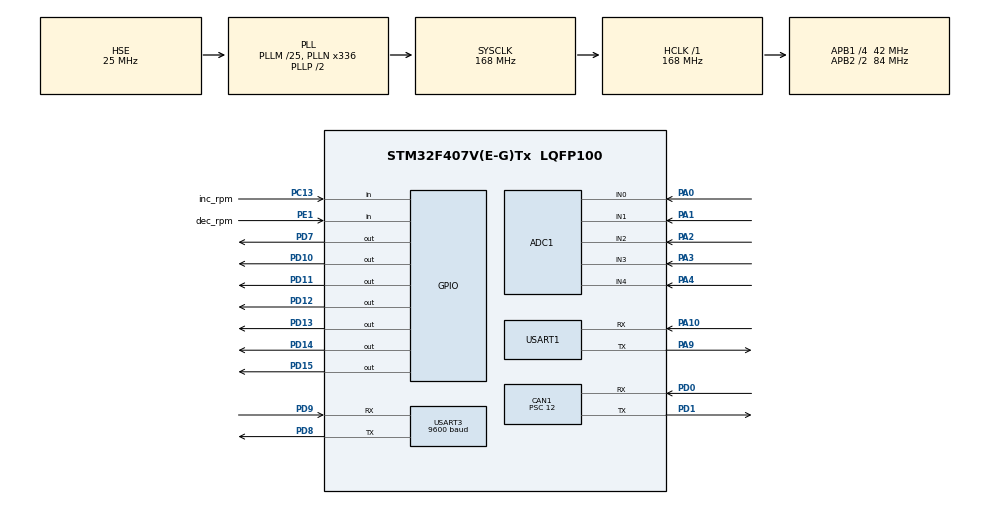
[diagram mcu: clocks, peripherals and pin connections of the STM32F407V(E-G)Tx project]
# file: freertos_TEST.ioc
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ADC1.Channel-3\#ChannelRegularConversion=ADC_CHANNEL_0
ADC1.Channel-4\#ChannelRegularConversion=ADC_CHANNEL_1
ADC1.Channel-5\#ChannelRegularConversion=ADC_CHANNEL_2
ADC1.Channel-6\#ChannelRegularConversion=ADC_CHANNEL_3
ADC1.Channel-7\#ChannelRegularConversion=ADC_CHANNEL_4
ADC1.ContinuousConvMode=ENABLE
ADC1.DMAContinuousRequests=ENABLE
ADC1.DataAlign=ADC_DATAALIGN_RIGHT
ADC1.NbrOfConversion=5
ADC1.NbrOfConversionFlag=1
ADC1.Rank-3\#ChannelRegularConversion=1
ADC1.Rank-4\#ChannelRegularConversion=2
ADC1.Rank-5\#ChannelRegularConversion=3
ADC1.Rank-6\#ChannelRegularConversion=4
ADC1.Rank-7\#ChannelRegularConversion=5
ADC1.SamplingTime-3\#ChannelRegularConversion=ADC_SAMPLETIME_480CYCLES
ADC1.SamplingTime-4\#ChannelRegularConversion=ADC_SAMPLETIME_480CYCLES
ADC1.SamplingTime-5\#ChannelRegularConversion=ADC_SAMPLETIME_480CYCLES
ADC1.SamplingTime-6\#ChannelRegularConversion=ADC_SAMPLETIME_480CYCLES
ADC1.SamplingTime-7\#ChannelRegularConversion=ADC_SAMPLETIME_480CYCLES
ADC1.master=1
CAN1.BS1=CAN_BS1_11TQ
CAN1.BS2=CAN_BS2_2TQ
CAN1.CalculateBaudRate=250000
CAN1.CalculateTimeBit=4000
CAN1.CalculateTimeQuantum=285.7142857142857
CAN1.Mode=CAN_MODE_LOOPBACK
CAN1.Prescaler=12
CAN1.SJW=CAN_SJW_1TQ
Dma.ADC1.0.Direction=DMA_PERIPH_TO_MEMORY
Dma.ADC1.0.FIFOMode=DMA_FIFOMODE_DISABLE
Dma.ADC1.0.Instance=DMA2_Stream0
Dma.ADC1.0.MemDataAlignment=DMA_MDATAALIGN_HALFWORD
Dma.ADC1.0.MemInc=DMA_MINC_ENABLE
Dma.ADC1.0.Mode=DMA_CIRCULAR
Dma.ADC1.0.PeriphDataAlignment=DMA_PDATAALIGN_HALFWORD
Dma.ADC1.0.PeriphInc=DMA_PINC_DISABLE
Dma.ADC1.0.Priority=DMA_PRIORITY_LOW
Dma.Request0=ADC1
Dma.Request1=USART3_RX
Dma.USART3_RX.1.Direction=DMA_PERIPH_TO_MEMORY
Dma.USART3_RX.1.FIFOMode=DMA_FIFOMODE_DISABLE
Dma.USART3_RX.1.Instance=DMA1_Stream1
Dma.USART3_RX.1.MemDataAlignment=DMA_MDATAALIGN_BYTE
Dma.USART3_RX.1.MemInc=DMA_MINC_ENABLE
Dma.USART3_RX.1.Mode=DMA_CIRCULAR
Dma.USART3_RX.1.PeriphDataAlignment=DMA_PDATAALIGN_BYTE
Dma.USART3_RX.1.PeriphInc=DMA_PINC_DISABLE
Dma.USART3_RX.1.Priority=DMA_PRIORITY_LOW
FREERTOS.Tasks01=defaultTask,24,128,StartDefaultTask,Default,NULL,Static,defaultTaskBuffer,defaultTaskControlBlock;lcd_drive,24,512,display_data,Default,NULL,Static,lcd_driveBuffer,lcd_driveControlBlock;can_control,8,2048,can_send_data,Default,NULL,Dynamic,NULL,NULL;input,8,128,get_input_data,Default,NULL,Dynamic,NULL,NULL;calculate,8,128,make_engine_data,Default,NULL,Dynamic,NULL,NULL;make_immo_data,24,4096,make_immo_data_func,Default,NULL,Static,make_immo_dataBuffer,make_immo_dataControlBlock
FREERTOS.configUSE_NEWLIB_REENTRANT=1
Mcu.Family=STM32F4
Mcu.Name=STM32F407V(E-G)Tx
Mcu.Package=LQFP100
NVIC.CAN1_RX0_IRQn=true\:5\:0\:false\:false\:true\:true\:true\:true\:true
NVIC.DMA1_Stream1_IRQn=true\:5\:0\:false\:false\:true\:true\:false\:true\:true
NVIC.DMA2_Stream0_IRQn=true\:5\:0\:false\:false\:true\:true\:false\:true\:true
NVIC.PriorityGroup=NVIC_PRIORITYGROUP_4
NVIC.TIM2_IRQn=true\:15\:0\:false\:false\:true\:false\:false\:true\:true
NVIC.TimeBase=TIM2_IRQn
NVIC.TimeBaseIP=TIM2
NVIC.USART1_IRQn=true\:5\:0\:false\:false\:true\:true\:true\:true\:true
PA0-WKUP.Signal=ADCx_IN0
PA1.Signal=ADCx_IN1
PA10.Mode=Asynchronous
PA10.Signal=USART1_RX
PA13.Mode=Trace_Asynchronous_SW
PA13.Signal=SYS_JTMS-SWDIO
PA14.Mode=Trace_Asynchronous_SW
PA14.Signal=SYS_JTCK-SWCLK
PA2.Signal=ADCx_IN2
PA3.Signal=ADCx_IN3
PA4.Signal=ADCx_IN4
PA9.Mode=Asynchronous
PA9.Signal=USART1_TX
PB3.Mode=Trace_Asynchronous_SW
PB3.Signal=SYS_JTDO-SWO
PC13-ANTI_TAMP.GPIO_Label=inc_rpm
PC13-ANTI_TAMP.Signal=GPIO_Input
PD0.Mode=CAN_Activate
PD0.Signal=CAN1_RX
PD1.Mode=CAN_Activate
PD1.Signal=CAN1_TX
PD10.Signal=GPIO_Output
PD11.Signal=GPIO_Output
PD12.Signal=GPIO_Output
PD13.Signal=GPIO_Output
PD14.Signal=GPIO_Output
PD15.Signal=GPIO_Output
PD7.Signal=GPIO_Output
PD8.Mode=Asynchronous
PD8.Signal=USART3_TX
PD9.Mode=Asynchronous
PD9.Signal=USART3_RX
PE1.GPIO_Label=dec_rpm
PE1.Signal=GPIO_Input
PH0-OSC_IN.Mode=HSE-External-Oscillator
PH0-OSC_IN.Signal=RCC_OSC_IN
PH1-OSC_OUT.Mode=HSE-External-Oscillator
PH1-OSC_OUT.Signal=RCC_OSC_OUT
ProjectManager.HeapSize=0x200
ProjectManager.StackSize=0x400
ProjectManager.TargetToolchain=STM32CubeIDE
RCC.48MHZClocksFreq_Value=84000000
RCC.AHBFreq_Value=168000000
RCC.APB1CLKDivider=RCC_HCLK_DIV4
RCC.APB1Freq_Value=42000000
RCC.APB1TimFreq_Value=84000000
RCC.APB2CLKDivider=RCC_HCLK_DIV2
RCC.APB2Freq_Value=84000000
RCC.APB2TimFreq_Value=168000000
RCC.CortexFreq_Value=168000000
RCC.HCLKFreq_Value=168000000
RCC.HSE_VALUE=25000000
RCC.HSI_VALUE=16000000
RCC.LSE_VALUE=32768
RCC.PLLM=25
RCC.PLLN=336
RCC.PLLSourceVirtual=RCC_PLLSOURCE_HSE
RCC.RCC_RTC_Clock_Source=RCC_RTCCLKSOURCE_LSI
RCC.RCC_RTC_Clock_SourceVirtual=RCC_RTCCLKSOURCE_LSE
RCC.RCC_RTC_Clock_Source_FROM_HSE=RCC_RTCCLKSOURCE_HSE_DIV25
RCC.SYSCLKFreq_VALUE=168000000
RCC.SYSCLKSource=RCC_SYSCLKSOURCE_PLLCLK
RCC.VCOOutputFreq_Value=336000000
SH.ADCx_IN0.0=ADC1_IN0,IN0
SH.ADCx_IN1.0=ADC1_IN1,IN1
SH.ADCx_IN2.0=ADC1_IN2,IN2
SH.ADCx_IN3.0=ADC1_IN3,IN3
SH.ADCx_IN4.0=ADC1_IN4,IN4
USART1.VirtualMode=VM_ASYNC
USART3.BaudRate=9600
USART3.VirtualMode=VM_ASYNC
VP_FREERTOS_VS_CMSIS_V2.Mode=CMSIS_V2
VP_MBEDTLS_VS_MBEDTLS.Mode=Enabled
VP_SYS_VS_tim2.Mode=TIM2
board=custom

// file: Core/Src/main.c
/* USER CODE BEGIN Header */
/**
  ******************************************************************************
  * @file           : main.c
  * @brief          : Main program body
  ******************************************************************************
  * @attention
  *
  * Copyright (c) 2025 STMicroelectronics.
  * All rights reserved.
  *
  * This software is licensed under terms that can be found in the LICENSE file
  * in the root directory of this software component.
  * If no LICENSE file comes with this software, it is provided AS-IS.
  *
  ******************************************************************************
  */
/* USER CODE END Header */
#include "main.h"
#include "cmsis_os.h"
#include "mbedtls.h"

/* USER CODE BEGIN Includes */
#include "string.h"
#include "stdlib.h"
#include "../../ECUAL/LCD16X2/LCD16X2.h"
#include "mbedtls/aes.h"

/* USER CODE END Includes */

typedef StaticTask_t osStaticThreadDef_t;
/* USER CODE BEGIN PTD */

  uint16_t adc_res[5];

  char adc_res_string [15];

  uint16_t input_rpm = 600;

  uint16_t coolant_value = 0;

  uint8_t fan_display_status = 0 ;//0: fan off , 1: fan low on , 2: fan high on

  uint8_t uart_buff[248];

  int _hour , _minute , _seconds;

  mbedtls_aes_context aes;

  unsigned char key[16] = {0x00, 0x01, 0x02, 0x03, 0x04, 0x05, 0x06, 0x07,
                           0x08, 0x09, 0x0A, 0x0B, 0x0C, 0x0D, 0x0E, 0x0F};

  // Initialization Vector (IV, 16 bytes)
  unsigned char iv[16] = {0xA1, 0xB2, 0xC3, 0xD4, 0xE5, 0xF6, 0x07, 0x18,
                          0x29, 0x3A, 0x4B, 0x5C, 0x6D, 0x7E, 0x8F, 0x90};

  char temp_result[16];

  static volatile int _engine_start_valid_ = 0;  //start engine or not!

  char get_encrypted_immo_data[16]; //data which recived from can bus

  const char * immo_code = "2C00F64060FA";

  uint8_t immo_read_ok = 0;

 uint8_t read_first_byte = 0;
 uint8_t read_second_byte = 0;

  //coolant level based on adc to convert

  const float coolant_level1_low = 0.3;

  const float coolant_level1_high = 0.5;

  const float coolant_level2_low = 0.6;

  const float coolant_level2_high = 1.1;

  const float coolant_level3_low = 1.6;

  const float coolant_level3_high = 2.1;

  const float coolant_level4_low = 2.2;

  const float coolant_level4_high = 2.7;

  const float coolant_level5_low = 2.8;

  const float coolant_level5_high = 3.3;

  //*********************************************

/* USER CODE END PTD */

/* USER CODE BEGIN PD */
#define NO_PERMISSION 0  //engine start permission by immoblizer
#define OK_PERMISSION 1 ///engine valid start permission by immoblizer

#define MyLCD LCD16X2_1
 void handle_rpm_input();
 void handle_rpm_increase();
 void handle_rpm_decrease();
 void handle_coolant();
uint16_t make_coolant_value(float _input_);
void make_rpm_can_data(uint16_t _rpm_);
void make_coolant_can_data(uint16_t _coolant_);
void make_fan_can_data(uint16_t _fan_);
void write_fan_status(); //write fan ststus on LCD
void get_time(int *hour , int *minute , int *seconds);
char * make_string_time(int hour , int minute);
char * make_encrypted_data(char *plain_text);
char *make_decrypted_data(char *cipher_text);
uint8_t convert_can_message_immo(char *res);
void send_encrypted_immo_data(char *chiper_text);
void handle_valid_switch_start();

/* USER CODE END PD */

ADC_HandleTypeDef hadc1;
DMA_HandleTypeDef hdma_adc1;

CAN_HandleTypeDef hcan1;

UART_HandleTypeDef huart1;
UART_HandleTypeDef huart3;
DMA_HandleTypeDef hdma_usart3_rx;

/* Definitions for defaultTask */
osThreadId_t defaultTaskHandle;
uint32_t defaultTaskBuffer[ 128 ];
osStaticThreadDef_t defaultTaskControlBlock;
const osThreadAttr_t defaultTask_attributes = {
  .name = "defaultTask",
  .cb_mem = &defaultTaskControlBlock,
  .cb_size = sizeof(defaultTaskControlBlock),
  .stack_mem = &defaultTaskBuffer[0],
  .stack_size = sizeof(defaultTaskBuffer),
  .priority = (osPriority_t) osPriorityNormal,
};
/* Definitions for lcd_drive */
osThreadId_t lcd_driveHandle;
uint32_t lcd_driveBuffer[ 512 ];
osStaticThreadDef_t lcd_driveControlBlock;
const osThreadAttr_t lcd_drive_attributes = {
  .name = "lcd_drive",
  .cb_mem = &lcd_driveControlBlock,
  .cb_size = sizeof(lcd_driveControlBlock),
  .stack_mem = &lcd_driveBuffer[0],
  .stack_size = sizeof(lcd_driveBuffer),
  .priority = (osPriority_t) osPriorityNormal,
};
/* Definitions for can_control */
osThreadId_t can_controlHandle;
const osThreadAttr_t can_control_attributes = {
  .name = "can_control",
  .stack_size = 2048 * 4,
  .priority = (osPriority_t) osPriorityLow,
};
/* Definitions for input */
osThreadId_t inputHandle;
const osThreadAttr_t input_attributes = {
  .name = "input",
  .stack_size = 128 * 4,
  .priority = (osPriority_t) osPriorityLow,
};
/* Definitions for calculate */
osThreadId_t calculateHandle;
const osThreadAttr_t calculate_attributes = {
  .name = "calculate",
  .stack_size = 128 * 4,
  .priority = (osPriority_t) osPriorityLow,
};
/* Definitions for make_immo_data */
osThreadId_t make_immo_dataHandle;
uint32_t make_immo_dataBuffer[ 4096 ];
osStaticThreadDef_t make_immo_dataControlBlock;
const osThreadAttr_t make_immo_data_attributes = {
  .name = "make_immo_data",
  .cb_mem = &make_immo_dataControlBlock,
  .cb_size = sizeof(make_immo_dataControlBlock),
  .stack_mem = &make_immo_dataBuffer[0],
  .stack_size = sizeof(make_immo_dataBuffer),
  .priority = (osPriority_t) osPriorityNormal,
};
/* USER CODE BEGIN PV */

uint32_t rx_headr;

uint8_t rx_data[8] = {0};

uint32_t tx_header =0x321;

uint8_t coolant_data[8] = {0XFF, 0XFF, 0XFF , 0XFF , 0XFF , 0XFF , 0XFF , 0XFF};

uint8_t rpm_data[8] = {0XFF, 0XFF, 0XFF , 0XFF , 0XFF , 0XFF , 0XFF , 0XFF};

uint8_t fan_data[8] = {0XFF, 0XFF, 0XFF , 0XFF , 0XFF , 0XFF , 0XFF , 0XFF};

#define RX_BUFF_SIZE  248

char UART_RX_BUFF[RX_BUFF_SIZE];

uint8_t UART_BUF_INDEX = 0;

uint8_t get_message = 0;

int i;

char data_to_send[45];

CAN_TxHeaderTypeDef engine_rpm_header;
CAN_TxHeaderTypeDef coolant_rpm_header;
CAN_TxHeaderTypeDef fan_rpm_header;
CAN_TxHeaderTypeDef immo_1; //fisrt byte of immoblizer (since aes makes 16 byte data we send data in two messages)
CAN_TxHeaderTypeDef immo_2; //second byte of immoblizer (since aes makes 16 byte data we send data in two messages)
CAN_RxHeaderTypeDef RxHeader;
CAN_FilterTypeDef cluster_filter;
uint32_t tx_mail_box = 0;

uint8_t get_data[1];

/* USER CODE END PV */

void SystemClock_Config(void);
static void MX_GPIO_Init(void);
static void MX_DMA_Init(void);
static void MX_CAN1_Init(void);
static void MX_USART1_UART_Init(void);
static void MX_ADC1_Init(void);
static void MX_USART3_UART_Init(void);
void StartDefaultTask(void *argument);
void display_data(void *argument);
void can_send_data(void *argument);
void get_input_data(void *argument);
void make_engine_data(void *argument);
void make_immo_data_func(void *argument);

int main(void)
{

  /* MCU Configuration--------------------------------------------------------*/

  /* Reset of all peripherals, Initializes the Flash interface and the Systick. */
  HAL_Init();

  /* Configure the system clock */
  SystemClock_Config();

  /* USER CODE BEGIN SysInit */
  HAL_StatusTypeDef RES =0;
  HAL_StatusTypeDef UART_RES =0;

  /* USER CODE END SysInit */

  /* Initialize all configured peripherals */
  MX_GPIO_Init();
  MX_DMA_Init();
  MX_CAN1_Init();
  MX_USART1_UART_Init();
  MX_ADC1_Init();
  MX_USART3_UART_Init();
  /* Call PreOsInit function */
  MX_MBEDTLS_Init();
  /* USER CODE BEGIN 2 */

  cluster_filter.FilterActivation = CAN_FILTER_ENABLE;

  cluster_filter.FilterBank = 0;

  cluster_filter.FilterFIFOAssignment = CAN_FILTER_FIFO0;

  cluster_filter.FilterIdHigh = 0;

  cluster_filter.FilterIdLow  =0 ;

  cluster_filter.FilterMaskIdHigh = 0;

  cluster_filter.FilterMaskIdLow = 0;

  cluster_filter.FilterMode  =  CAN_FILTERMODE_IDMASK;

  cluster_filter.FilterScale = CAN_FILTERSCALE_32BIT;

  RES = HAL_CAN_ConfigFilter(&hcan1, &cluster_filter);

 RES = HAL_CAN_Start(&hcan1);

 RES = HAL_CAN_ActivateNotification(&hcan1, CAN_IT_RX_FIFO0_MSG_PENDING);
//*************************************************************
  engine_rpm_header.DLC =8;
  engine_rpm_header.IDE = CAN_ID_EXT;
  engine_rpm_header.ExtId = 0XCF00401;
  //**************************************************
  coolant_rpm_header.DLC =8;
  coolant_rpm_header.IDE = CAN_ID_EXT;
  coolant_rpm_header.ExtId = 0X18FE63FE;
  //***************************************************
  coolant_rpm_header.DLC =8;
  coolant_rpm_header.IDE = CAN_ID_EXT;
  coolant_rpm_header.ExtId = 0X18FEBDFE;
  //***************************************************
  immo_1.DLC =8;
  immo_1.IDE = CAN_ID_EXT;
  immo_1.ExtId = 0X1CABBAEE;
  //***************************************************
  immo_2.DLC =8;
  immo_2.IDE = CAN_ID_EXT;
  immo_2.ExtId = 0X1CABBBEE;
  //***************************************************

  HAL_UART_Receive_IT(&huart1, (uint8_t *)get_data, 1);

     memset(adc_res_string , 0 , 15);
     memset(adc_res , 0 , 5 * sizeof(uint16_t));

  //  HAL_ADC_Start_DMA(&hadc2, &adc_res, 1);

     HAL_StatusTypeDef adc_hal_res ;

     uint32_t adc_channel_one = 0;

     adc_hal_res =  HAL_ADC_Start_DMA(&hadc1, (uint32_t *) adc_res, 5);

     HAL_UART_Receive_DMA(&huart3,  uart_buff , 12); //tag code are 12 digits!

  /* USER CODE END 2 */

  /* Init scheduler */
  osKernelInitialize();

  /* Create the thread(s) */
  /* creation of defaultTask */
  defaultTaskHandle = osThreadNew(StartDefaultTask, NULL, &defaultTask_attributes);

  /* creation of lcd_drive */
  lcd_driveHandle = osThreadNew(display_data, NULL, &lcd_drive_attributes);

  /* creation of can_control */
  can_controlHandle = osThreadNew(can_send_data, NULL, &can_control_attributes);

  /* creation of input */
  inputHandle = osThreadNew(get_input_data, NULL, &input_attributes);

  /* creation of calculate */
  calculateHandle = osThreadNew(make_engine_data, NULL, &calculate_attributes);

  /* creation of make_immo_data */
  make_immo_dataHandle = osThreadNew(make_immo_data_func, NULL, &make_immo_data_attributes);

  /* Start scheduler */
  osKernelStart();

  /* We should never get here as control is now taken by the scheduler */

  /* Infinite loop */
  while (1)
  {

    /* USER CODE BEGIN 3 */
    //}

  }
  /* USER CODE END 3 */
}

void SystemClock_Config(void)
{
  RCC_OscInitTypeDef RCC_OscInitStruct = {0};
  RCC_ClkInitTypeDef RCC_ClkInitStruct = {0};

  /** Configure the main internal regulator output voltage
  */
  __HAL_RCC_PWR_CLK_ENABLE();
  __HAL_PWR_VOLTAGESCALING_CONFIG(PWR_REGULATOR_VOLTAGE_SCALE1);

  /** Initializes the RCC Oscillators according to the specified parameters
  * in the RCC_OscInitTypeDef structure.
  */
  RCC_OscInitStruct.OscillatorType = RCC_OSCILLATORTYPE_HSE;
  RCC_OscInitStruct.HSEState = RCC_HSE_ON;
  RCC_OscInitStruct.PLL.PLLState = RCC_PLL_ON;
  RCC_OscInitStruct.PLL.PLLSource = RCC_PLLSOURCE_HSE;
  RCC_OscInitStruct.PLL.PLLM = 25;
  RCC_OscInitStruct.PLL.PLLN = 336;
  RCC_OscInitStruct.PLL.PLLP = RCC_PLLP_DIV2;
  RCC_OscInitStruct.PLL.PLLQ = 4;
  if (HAL_RCC_OscConfig(&RCC_OscInitStruct) != HAL_OK)
  {
    Error_Handler();
  }

  /** Initializes the CPU, AHB and APB buses clocks
  */
  RCC_ClkInitStruct.ClockType = RCC_CLOCKTYPE_HCLK|RCC_CLOCKTYPE_SYSCLK
                              |RCC_CLOCKTYPE_PCLK1|RCC_CLOCKTYPE_PCLK2;
  RCC_ClkInitStruct.SYSCLKSource = RCC_SYSCLKSOURCE_PLLCLK;
  RCC_ClkInitStruct.AHBCLKDivider = RCC_SYSCLK_DIV1;
  RCC_ClkInitStruct.APB1CLKDivider = RCC_HCLK_DIV4;
  RCC_ClkInitStruct.APB2CLKDivider = RCC_HCLK_DIV2;

  if (HAL_RCC_ClockConfig(&RCC_ClkInitStruct, FLASH_LATENCY_5) != HAL_OK)
  {
    Error_Handler();
  }
}

static void MX_ADC1_Init(void)
{

  ADC_ChannelConfTypeDef sConfig = {0};

  /** Configure the global features of the ADC (Clock, Resolution, Data Alignment and number of conversion)
  */
  hadc1.Instance = ADC1;
  hadc1.Init.ClockPrescaler = ADC_CLOCK_SYNC_PCLK_DIV4;
  hadc1.Init.Resolution = ADC_RESOLUTION_12B;
  hadc1.Init.ScanConvMode = ENABLE;
  hadc1.Init.ContinuousConvMode = ENABLE;
  hadc1.Init.DiscontinuousConvMode = DISABLE;
  hadc1.Init.ExternalTrigConvEdge = ADC_EXTERNALTRIGCONVEDGE_NONE;
  hadc1.Init.ExternalTrigConv = ADC_SOFTWARE_START;
  hadc1.Init.DataAlign = ADC_DATAALIGN_RIGHT;
  hadc1.Init.NbrOfConversion = 5;
  hadc1.Init.DMAContinuousRequests = ENABLE;
  hadc1.Init.EOCSelection = ADC_EOC_SINGLE_CONV;
  if (HAL_ADC_Init(&hadc1) != HAL_OK)
  {
    Error_Handler();
  }

  /** Configure for the selected ADC regular channel its corresponding rank in the sequencer and its sample time.
  */
  sConfig.Channel = ADC_CHANNEL_0;
  sConfig.Rank = 1;
  sConfig.SamplingTime = ADC_SAMPLETIME_480CYCLES;
  if (HAL_ADC_ConfigChannel(&hadc1, &sConfig) != HAL_OK)
  {
    Error_Handler();
  }

  /** Configure for the selected ADC regular channel its corresponding rank in the sequencer and its sample time.
  */
  sConfig.Channel = ADC_CHANNEL_1;
  sConfig.Rank = 2;
  if (HAL_ADC_ConfigChannel(&hadc1, &sConfig) != HAL_OK)
  {
    Error_Handler();
  }

  /** Configure for the selected ADC regular channel its corresponding rank in the sequencer and its sample time.
  */
  sConfig.Channel = ADC_CHANNEL_2;
  sConfig.Rank = 3;
  if (HAL_ADC_ConfigChannel(&hadc1, &sConfig) != HAL_OK)
  {
    Error_Handler();
  }

  /** Configure for the selected ADC regular channel its corresponding rank in the sequencer and its sample time.
  */
  sConfig.Channel = ADC_CHANNEL_3;
  sConfig.Rank = 4;
  if (HAL_ADC_ConfigChannel(&hadc1, &sConfig) != HAL_OK)
  {
    Error_Handler();
  }

  /** Configure for the selected ADC regular channel its corresponding rank in the sequencer and its sample time.
  */
  sConfig.Channel = ADC_CHANNEL_4;
  sConfig.Rank = 5;
  if (HAL_ADC_ConfigChannel(&hadc1, &sConfig) != HAL_OK)
  {
    Error_Handler();
  }

}

static void MX_CAN1_Init(void)
{

  hcan1.Instance = CAN1;
  hcan1.Init.Prescaler = 12;
  hcan1.Init.Mode = CAN_MODE_LOOPBACK;
  hcan1.Init.SyncJumpWidth = CAN_SJW_1TQ;
  hcan1.Init.TimeSeg1 = CAN_BS1_11TQ;
  hcan1.Init.TimeSeg2 = CAN_BS2_2TQ;
  hcan1.Init.TimeTriggeredMode = DISABLE;
  hcan1.Init.AutoBusOff = DISABLE;
  hcan1.Init.AutoWakeUp = DISABLE;
  hcan1.Init.AutoRetransmission = DISABLE;
  hcan1.Init.ReceiveFifoLocked = DISABLE;
  hcan1.Init.TransmitFifoPriority = DISABLE;
  if (HAL_CAN_Init(&hcan1) != HAL_OK)
  {
    Error_Handler();
  }

}

static void MX_USART1_UART_Init(void)
{

  huart1.Instance = USART1;
  huart1.Init.BaudRate = 115200;
  huart1.Init.WordLength = UART_WORDLENGTH_8B;
  huart1.Init.StopBits = UART_STOPBITS_1;
  huart1.Init.Parity = UART_PARITY_NONE;
  huart1.Init.Mode = UART_MODE_TX_RX;
  huart1.Init.HwFlowCtl = UART_HWCONTROL_NONE;
  huart1.Init.OverSampling = UART_OVERSAMPLING_16;
  if (HAL_UART_Init(&huart1) != HAL_OK)
  {
    Error_Handler();
  }

}

static void MX_USART3_UART_Init(void)
{

  huart3.Instance = USART3;
  huart3.Init.BaudRate = 9600;
  huart3.Init.WordLength = UART_WORDLENGTH_8B;
  huart3.Init.StopBits = UART_STOPBITS_1;
  huart3.Init.Parity = UART_PARITY_NONE;
  huart3.Init.Mode = UART_MODE_TX_RX;
  huart3.Init.HwFlowCtl = UART_HWCONTROL_NONE;
  huart3.Init.OverSampling = UART_OVERSAMPLING_16;
  if (HAL_UART_Init(&huart3) != HAL_OK)
  {
    Error_Handler();
  }

}

static void MX_DMA_Init(void)
{

  /* DMA controller clock enable */
  __HAL_RCC_DMA2_CLK_ENABLE();
  __HAL_RCC_DMA1_CLK_ENABLE();

  /* DMA interrupt init */
  /* DMA1_Stream1_IRQn interrupt configuration */
  HAL_NVIC_SetPriority(DMA1_Stream1_IRQn, 5, 0);
  HAL_NVIC_EnableIRQ(DMA1_Stream1_IRQn);
  /* DMA2_Stream0_IRQn interrupt configuration */
  HAL_NVIC_SetPriority(DMA2_Stream0_IRQn, 5, 0);
  HAL_NVIC_EnableIRQ(DMA2_Stream0_IRQn);

}

static void MX_GPIO_Init(void)
{
  GPIO_InitTypeDef GPIO_InitStruct = {0};

  /* GPIO Ports Clock Enable */
  __HAL_RCC_GPIOC_CLK_ENABLE();
  __HAL_RCC_GPIOH_CLK_ENABLE();
  __HAL_RCC_GPIOA_CLK_ENABLE();
  __HAL_RCC_GPIOD_CLK_ENABLE();
  __HAL_RCC_GPIOB_CLK_ENABLE();
  __HAL_RCC_GPIOE_CLK_ENABLE();

  /*Configure GPIO pin Output Level */
  HAL_GPIO_WritePin(GPIOD, GPIO_PIN_10|GPIO_PIN_11|GPIO_PIN_12|GPIO_PIN_13
                          |GPIO_PIN_14|GPIO_PIN_15|GPIO_PIN_7, GPIO_PIN_RESET);

  /*Configure GPIO pin : inc_rpm_Pin */
  GPIO_InitStruct.Pin = inc_rpm_Pin;
  GPIO_InitStruct.Mode = GPIO_MODE_INPUT;
  GPIO_InitStruct.Pull = GPIO_NOPULL;
  HAL_GPIO_Init(inc_rpm_GPIO_Port, &GPIO_InitStruct);

  /*Configure GPIO pins : PD10 PD11 PD12 PD13
                           PD14 PD15 PD7 */
  GPIO_InitStruct.Pin = GPIO_PIN_10|GPIO_PIN_11|GPIO_PIN_12|GPIO_PIN_13
                          |GPIO_PIN_14|GPIO_PIN_15|GPIO_PIN_7;
  GPIO_InitStruct.Mode = GPIO_MODE_OUTPUT_PP;
  GPIO_InitStruct.Pull = GPIO_NOPULL;
  GPIO_InitStruct.Speed = GPIO_SPEED_FREQ_LOW;
  HAL_GPIO_Init(GPIOD, &GPIO_InitStruct);

  /*Configure GPIO pin : dec_rpm_Pin */
  GPIO_InitStruct.Pin = dec_rpm_Pin;
  GPIO_InitStruct.Mode = GPIO_MODE_INPUT;
  GPIO_InitStruct.Pull = GPIO_NOPULL;
  HAL_GPIO_Init(dec_rpm_GPIO_Port, &GPIO_InitStruct);

}

/* USER CODE BEGIN 4 */

void handle_rpm(){

	 handle_rpm_increase();
	 handle_rpm_decrease();
}

void handle_rpm_increase(){

    if(HAL_GPIO_ReadPin(GPIOE, inc_rpm_Pin) == 0){
     HAL_Delay(200);
     input_rpm += 100;
    }
    if(input_rpm>=2500)
   	 input_rpm = 2500;

}
void handle_rpm_decrease(){

    if(HAL_GPIO_ReadPin(GPIOE, dec_rpm_Pin) == 0){
     HAL_Delay(200);
     input_rpm -= 100;
    }
    if(input_rpm<=600)
   	 input_rpm = 600;

}

uint16_t make_coolant_value(float _input_){

	if(_input_ >= coolant_level1_low && _input_ <= coolant_level1_high)
		return 60;

	if(_input_ >= coolant_level2_low && _input_ <= coolant_level3_high)
			return 70;

	if(_input_ >= coolant_level3_low && _input_ <= coolant_level3_high)
			return 80;

	if(_input_ >= coolant_level4_low && _input_ <= coolant_level4_high)
				return 90;

	if(_input_ >= coolant_level5_low && _input_ <= coolant_level5_high)
					return 100;

	return 0;

}

void handle_coolant(){

	 coolant_value = make_coolant_value((float)((adc_res[0] * 3.3) /4095));

}

void make_rpm_can_data(uint16_t _rpm){

	_rpm *=8; //based on j1939, factor is divied by 8, so we multiple in 8(https://www.csselectronics.com/pages/j1939-explained-simple-intro-tutorial)
	uint8_t rpm_high_byte = (_rpm >> 8) & 0xFF; //convert 16bit to two  bit numbers
	uint8_t rpm_low_byte = _rpm & 0xFF;

	rpm_data[3] = rpm_low_byte;
	rpm_data[4] = rpm_high_byte;

}

 void make_coolant_can_data(uint16_t _coolant_){

	 _coolant_ -=40; //based on j1939 dbc: https://github.com/nberlette/canbus/blob/main/dbc/j1939.dbc
  uint8_t coolant_high_byte = (_coolant_ >> 8) & 0xFF; //convert 16bit to two  bit numbers
  uint8_t coolant_low_byte = _coolant_ & 0xFF;

  coolant_data[2] = coolant_low_byte;
  coolant_data[3] = coolant_high_byte;

 }

 void make_fan_can_data(uint16_t _fan_){

	  if(_fan_ <70) {//fan off

		_fan_ = 0;

		fan_display_status = 0;

	  }

	  else if(_fan_>=70 && _fan_<=90){  //low fan start

		_fan_ = 600;

		fan_display_status = 1;

	  }

	  else if( _fan_>90){ //high fan start

		_fan_ = 1500;

		fan_display_status = 2;

	  }

	    _fan_ *=8; //based on j1939, factor is divied by 8, so we multiple in 8(https://www.csselectronics.com/pages/j1939-explained-simple-intro-tutorial)
	 	uint8_t fan_rpm_high_byte = (_fan_ >> 8) & 0xFF; //convert 16bit to two  bit numbers
	 	uint8_t fan_rpm_low_byte = _fan_ & 0xFF;

	 	fan_data[2] = fan_rpm_low_byte;
	 	fan_data[3] = fan_rpm_high_byte;

 }

void  write_fan_status(){

	 LCD16X2_Set_Cursor(MyLCD, 1, 14);

	  if(fan_display_status == 0)
	  LCD16X2_Write_String(MyLCD, "OFF");

	  else if(fan_display_status == 1)
		  LCD16X2_Write_String(MyLCD, "LOW");

	  else if(fan_display_status == 2)
	 		  LCD16X2_Write_String(MyLCD, "HIGH");

}

void get_time(int *hours , int *minutes , int *seconds){

	uint32_t totalSeconds = HAL_GetTick() /1000;

	   *hours = totalSeconds / 3600;          // Calculate hours
	    *minutes = (totalSeconds % 3600) / 60; // Calculate minutes
	    *seconds = totalSeconds % 60;

}

char * make_string_time(int hour , int minute){

	char __hour[5] , __minute[5];

	static char result [15];
	memset(result , 0 , 15);

	itoa(hour , __hour , 10);
	itoa(minute , __minute , 10);

	strcpy(result , __hour);
	strcat(result , __minute);

	return result;

}
  char * make_encrypted_data(char *plain_text){

	static char result[16];
	memset(result , 0 , 16);

	//add padding!
	if(strlen(plain_text)!=16){

		for(int i= strlen(plain_text); i<16; i++)

			plain_text[i]='F';
	}

    mbedtls_aes_init(&aes);
     mbedtls_aes_setkey_enc(&aes, key, 128);
	//int __index = strlen(plain_text); //since we have data less than 16 bytes we must complete it

	 // mbedtls_aes_crypt_cbc(&aes, MBEDTLS_AES_ENCRYPT, 16, iv, (unsigned char *)plain_text, (unsigned char *)result);

	//mbedtls_aes_crypt_cbc(&aes, MBEDTLS_AES_ENCRYPT, 16, (unsigned char *)iv, (unsigned char *)plain_text, (unsigned char *)result);

	mbedtls_aes_crypt_ecb(&aes, MBEDTLS_AES_ENCRYPT, (unsigned char *) plain_text, (unsigned char *)result);

 	 strcpy(temp_result , result);
 	 //for(int i=0; i<16; i++)
 	// sprintf("%02X " , temp_result[i]);
 	 HAL_UART_Transmit(&huart1, (uint8_t *)"input data:", 12, HAL_MAX_DELAY);
 	 	HAL_Delay(500);
 	 	 HAL_UART_Transmit(&huart1, (uint8_t *)plain_text, strlen(plain_text), HAL_MAX_DELAY);
 	 	 	 	 HAL_Delay(500);
 	 	 HAL_UART_Transmit(&huart1, (uint8_t *)"\n", 1, HAL_MAX_DELAY);
 	 	 HAL_Delay(500);
 	 	 HAL_UART_Transmit(&huart1, (uint8_t *)"coded data:", 12, HAL_MAX_DELAY);
 	 	 	 	HAL_Delay(500);
 	 HAL_UART_Transmit(&huart1, (uint8_t *)temp_result, 16, HAL_MAX_DELAY);
 	 HAL_Delay(500);
 	HAL_UART_Transmit(&huart1, (uint8_t *)"\n", 1, HAL_MAX_DELAY);
 	 HAL_Delay(500);
	 mbedtls_aes_free(&aes);
    return result;
	}

  char *make_decrypted_data(char *cipher_text){

	 static char result[16];

	    mbedtls_aes_init(&aes);
	     mbedtls_aes_setkey_dec(&aes, key, 128);

	 mbedtls_aes_crypt_ecb(&aes, MBEDTLS_AES_DECRYPT, (unsigned char *) cipher_text, (unsigned char *)result);
	//mbedtls_aes_crypt_cbc(&aes, MBEDTLS_AES_DECRYPT, 16, (unsigned char *)iv, (unsigned char *)cipher_text, (unsigned char *)result);

   HAL_UART_Transmit(&huart1, (uint8_t *)"decoded data:", 13, HAL_MAX_DELAY);
   	// HAL_Delay(500);

  HAL_UART_Transmit(&huart1, (uint8_t *)result, strlen(result), HAL_MAX_DELAY);
  	 //HAL_Delay(500);
  	 HAL_UART_Transmit(&huart1, (uint8_t *)"\n", 1, HAL_MAX_DELAY);
  	 //HAL_Delay(500);

  	 mbedtls_aes_free(&aes);

  return result;

  }

  void send_encrypted_immo_data(char *cipher_text){

	  uint8_t first_byte[8];
	  uint8_t second_byte[8];

	  for(int i=0; i<8 ; i++)
		  first_byte[i] = (uint8_t)cipher_text[i];

	  int j=0;
	  for(int i=8; i<16 ; i++){
	 		  second_byte[j] = (uint8_t)cipher_text[i];
	 		  j++;
	  }

	  HAL_CAN_AddTxMessage(&hcan1, &immo_1, first_byte, &tx_mail_box);
	  HAL_Delay(500);
	  HAL_CAN_AddTxMessage(&hcan1, &immo_2, second_byte, &tx_mail_box);
	  HAL_Delay(500);

  }

  uint8_t convert_can_message_immo(char *res){

	  int j= 8;

	  uint8_t result = 0;

	  const char *m1 = "first immo received\n";
	  const char *m2 = "second immo received\n";

	  if(RxHeader.ExtId == 0X1CABBAEE){
        for(int i=0; i<8; i++)
        	get_encrypted_immo_data[i] = rx_data[i];
        result++;
       // HAL_UART_Transmit(&huart1, (uint8_t *)rx_data, 8, HAL_MAX_DELAY);
       // HAL_UART_Transmit(&huart1, (uint8_t *)"\n", 1, HAL_MAX_DELAY);
       // HAL_Delay(500);
        read_first_byte = 1;

	  }

	  if(RxHeader.ExtId == 0X1CABBBEE){

		  result++;

		 // HAL_UART_Transmit(&huart1, (uint8_t *)rx_data, 8, HAL_MAX_DELAY);
		  //HAL_UART_Transmit(&huart1, (uint8_t *)"\n", 1, HAL_MAX_DELAY);

		  for(int i = 0; i<8; i++){

			  get_encrypted_immo_data[j] = rx_data[i];
			  j++;
		  }
		  read_second_byte = 1;
	 	  }

	  return result;
  }

  void handle_valid_switch_start(){

		 char ecu_time[16] = {0}, immo_time[16] = {0};
		 char decrypted_data[16]= {0};

		 get_time(&_hour, &_minute, &_seconds);
		 strcpy(ecu_time ,make_string_time(_hour, _minute));

	    strcpy(decrypted_data , make_decrypted_data(get_encrypted_immo_data));

	    for(int i=0; i<16;i++){

	    	    if(decrypted_data[i] == 'F')
	    	    	break;

	   			 immo_time[i] = decrypted_data[i];

	   		 }
	    HAL_UART_Transmit(&huart1, (uint8_t *)"immo time:", 10, HAL_MAX_DELAY);
	    HAL_UART_Transmit(&huart1, (uint8_t *)immo_time, strlen(immo_time), HAL_MAX_DELAY);
	    HAL_UART_Transmit(&huart1, (uint8_t *)"\n", 1, HAL_MAX_DELAY);
	    if(strcmp(ecu_time , immo_time)==0){

	    	_engine_start_valid_ = OK_PERMISSION;
	    HAL_UART_Transmit(&huart1, (uint8_t *)"VALID SWITCH\n", 13, HAL_MAX_DELAY);
	    }

  }

void HAL_CAN_RxFifo0MsgPendingCallback(CAN_HandleTypeDef *hcan){

   if(HAL_CAN_GetRxMessage(hcan, CAN_RX_FIFO0, &RxHeader, rx_data) == HAL_OK){
	   get_message = 1;
   convert_can_message_immo("salam");
   if(read_first_byte == 1 && read_second_byte == 1)
	   handle_valid_switch_start();
}

}

void HAL_UART_RxCpltCallback(UART_HandleTypeDef *huart){

	if(huart->Instance == USART1)
	{

	UART_BUF_INDEX++;

	if(UART_BUF_INDEX>=  RX_BUFF_SIZE)
		UART_BUF_INDEX = 0;

	UART_RX_BUFF[UART_BUF_INDEX] = (char)get_data[0];

	HAL_UART_Receive_IT(&huart1, get_data, 1);

	}
}

/* USER CODE END 4 */

void StartDefaultTask(void *argument)
{
  /* USER CODE BEGIN 5 */
  /* Infinite loop */
  for(;;)
  {
	//  if(immo_read_ok ==2)
	//make_decrypted_data(get_encrypted_immo_data);
	 // HAL_UART_Transmit(&huart1, (uint8_t *)uart_buff, 12, HAL_MAX_DELAY);
	  //HAL_Delay(500);

    osDelay(1);
  }
  /* USER CODE END 5 */
}

void display_data(void *argument)
{
  /* USER CODE BEGIN display_data */
	 LCD16X2_Init(MyLCD);
	 LCD16X2_Clear(MyLCD);
  /* Infinite loop */
  for(;;)
  {
	    while(_engine_start_valid_ == NO_PERMISSION){

	    	LCD16X2_Set_Cursor(MyLCD, 1, 1);
	    		  	  LCD16X2_Write_String(MyLCD, "NO VALID SWITCH!");
	    	HAL_Delay(500);
	    }

	   // else  if(_engine_start_valid_ == OK_PERMISSION)
	    {

	  	  LCD16X2_Set_Cursor(MyLCD, 1, 1);
	  	  LCD16X2_Write_String(MyLCD, "RPM:");

	  	  LCD16X2_Set_Cursor(MyLCD, 2, 1);
	  	  LCD16X2_Write_String(MyLCD, "Coolant:");

	  	 LCD16X2_Set_Cursor(MyLCD, 1, 10);
	     LCD16X2_Write_String(MyLCD, "FAN:");

	  	  LCD16X2_Set_Cursor(MyLCD, 1, 5);
	  	  itoa(input_rpm , adc_res_string , 10);
	  	  LCD16X2_Write_String(MyLCD, adc_res_string);

	  	  LCD16X2_Set_Cursor(MyLCD, 2, 10);
	  	  itoa(coolant_value  , adc_res_string , 10);
	  	 // snprintf(adc_res_string, sizeof(adc_res_string), "%.1f", (float)((coolant_value * 3.3) /4095));
	  	  LCD16X2_Write_String(MyLCD, adc_res_string);

	  	  write_fan_status();

	  	 osDelay(100);

	  	  LCD16X2_Clear(MyLCD);

	    }
  }
  /* USER CODE END display_data */
}

void can_send_data(void *argument)
{
  /* USER CODE BEGIN can_send_data */
  /* Infinite loop */
  for(;;)
  {
	   while(_engine_start_valid_ == NO_PERMISSION){
	    	   HAL_Delay(50);
	    }
	   //(_engine_start_valid_ == OK_PERMISSION)
			   {
	  /*RES = */HAL_CAN_AddTxMessage(&hcan1, &engine_rpm_header, rpm_data, &tx_mail_box);
		     HAL_Delay(50);

		     HAL_CAN_AddTxMessage(&hcan1, &coolant_rpm_header, coolant_data, &tx_mail_box);
		     HAL_Delay(50);

		     HAL_CAN_AddTxMessage(&hcan1, &fan_rpm_header, fan_data, &tx_mail_box);
		     HAL_Delay(50);

		     if(get_message == 1)
		     {
		     get_message = rx_data[0];
		     memset(data_to_send , 0 , 45);
		     char temp_data[1];

		     for(i=0; i<8; i++){

		     itoa(rx_data[i] , temp_data , 10);
		     strcat(data_to_send , temp_data);
		     strcat(data_to_send , ",");
		     }
		     strcat(data_to_send, "\n");
		     }
		    //  if(strstr(UART_RX_BUFF , "SALAM")){
		    // HAL_UART_Transmit(&huart1, (uint8_t *) "can ok\n", 7, HAL_MAX_DELAY);
		     //HAL_Delay(100);

		     /* UART_RES =HAL_UART_Transmit(&huart1, (uint8_t *) UART_RX_BUFF, sizeof(UART_RX_BUFF), HAL_MAX_DELAY);
			  HAL_Delay(100);
			  */
		     }
  }
  /* USER CODE END can_send_data */
}

void get_input_data(void *argument)
{
  /* USER CODE BEGIN get_input_data */
  /* Infinite loop */
  for(;;)
  {
     handle_rpm();
     handle_coolant();

  }
  /* USER CODE END get_input_data */
}

void make_engine_data(void *argument)
{
  /* USER CODE BEGIN make_engine_data */
  /* Infinite loop */
  for(;;)
  {

    make_coolant_can_data(coolant_value);
    make_rpm_can_data(input_rpm);
    make_fan_can_data(coolant_value);
  }
  /* USER CODE END make_engine_data */
}

void make_immo_data_func(void *argument)
{
  /* USER CODE BEGIN make_immo_data_func */

  /* Infinite loop */
  for(;;)
  {
     if(strcmp(uart_buff , immo_code) == 0){ //valid tag
	 get_time(&_hour, &_minute, &_seconds);
	 char time_string[15];
	 char data_to_send[64];
	 strcpy(time_string , make_string_time(_hour , _minute));
	 strcpy(data_to_send ,make_encrypted_data(time_string));
	// make_decrypted_data(data_to_send);
	 send_encrypted_immo_data(data_to_send);
     }
	// HAL_UART_Transmit(&huart1, (uint8_t *)data_to_send, strlen(data_to_send), HAL_MAX_DELAY);
	// HAL_Delay(1000);
    osDelay(1);
  }
  /* USER CODE END make_immo_data_func */
}

void HAL_TIM_PeriodElapsedCallback(TIM_HandleTypeDef *htim)
{
  if (htim->Instance == TIM2) {
    HAL_IncTick();
  }
}

void Error_Handler(void)
{
  __disable_irq();
  while (1)
  {
  }
}
